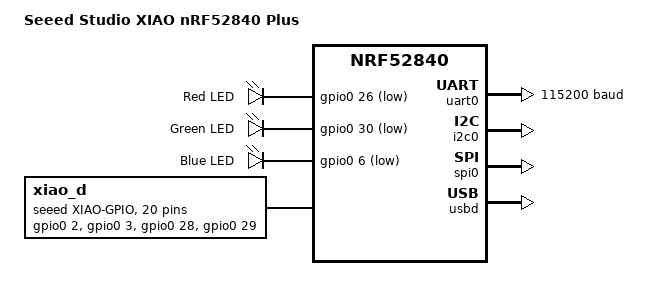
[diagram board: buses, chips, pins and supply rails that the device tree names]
/*
 * Copyright (c) 2024
 * SPDX-License-Identifier: MIT
 *
 * Seeed Studio XIAO nRF52840 Plus board definition
 */

/dts-v1/;
#include <nordic/nrf52840_qiaa.dtsi>
#include "xiao_ble_plus-pinctrl.dtsi"

/ {
    model = "Seeed Studio XIAO nRF52840 Plus";
    compatible = "seeed,xiao-ble-plus";

    chosen {
        zephyr,sram = &sram0;
        zephyr,flash = &flash0;
        zephyr,code-partition = &code_partition;
        zephyr,console = &uart0;
    };

    leds {
        compatible = "gpio-leds";
        led0: led_0 {
            gpios = <&gpio0 26 GPIO_ACTIVE_LOW>;
            label = "Red LED";
        };
        led1: led_1 {
            gpios = <&gpio0 30 GPIO_ACTIVE_LOW>;
            label = "Green LED";
        };
        led2: led_2 {
            gpios = <&gpio0 6 GPIO_ACTIVE_LOW>;
            label = "Blue LED";
        };
    };

    xiao_d: connector {
        compatible = "seeed,xiao-gpio";
        #gpio-cells = <2>;
        gpio-map-mask = <0xffffffff 0xffffffc0>;
        gpio-map-pass-thru = <0 0x3f>;
        gpio-map =
            <0 0 &gpio0 2 0>,    /* D0  - P0.02 */
            <1 0 &gpio0 3 0>,    /* D1  - P0.03 */
            <2 0 &gpio0 28 0>,   /* D2  - P0.28 */
            <3 0 &gpio0 29 0>,   /* D3  - P0.29 */
            <4 0 &gpio0 4 0>,    /* D4  - P0.04 (SDA) */
            <5 0 &gpio0 5 0>,    /* D5  - P0.05 (SCL) */
            <6 0 &gpio1 11 0>,   /* D6  - P1.11 (TX) */
            <7 0 &gpio1 12 0>,   /* D7  - P1.12 (RX) */
            <8 0 &gpio1 13 0>,   /* D8  - P1.13 (SCK) */
            <9 0 &gpio1 14 0>,   /* D9  - P1.14 (MISO) */
            <10 0 &gpio1 15 0>,  /* D10 - P1.15 (MOSI) */
            <11 0 &gpio0 15 0>,  /* D11 - P0.15 (I2S_SD) */
            <12 0 &gpio0 19 0>,  /* D12 - P0.19 (I2S_SCK) */
            <13 0 &gpio1 1 0>,   /* D13 - P1.01 (I2S_WS) */
            <14 0 &gpio0 9 0>,   /* D14 - P0.09 (NFC1) */
            <15 0 &gpio0 10 0>,  /* D15 - P0.10 (NFC2) */
            <16 0 &gpio0 31 0>,  /* D16 - P0.31 (BAT ADC) */
            <17 0 &gpio1 3 0>,   /* D17 - P1.03 (SCK1) */
            <18 0 &gpio1 5 0>,   /* D18 - P1.05 (MISO1) */
            <19 0 &gpio1 7 0>;   /* D19 - P1.07 (MOSI1) */
    };
};

xiao_serial: &uart0 {};
xiao_i2c: &i2c0 {};
xiao_spi: &spi0 {};

&flash0 {
    partitions {
        compatible = "fixed-partitions";
        #address-cells = <1>;
        #size-cells = <1>;

        boot_partition: partition@0 {
            label = "adafruit_boot";
            reg = <0x000000000 0x00027000>;
            read-only;
        };

        code_partition: partition@27000 {
            label = "code_partition";
            reg = <0x00027000 0x000B1000>;
        };

        storage_partition: partition@D8000 {
            label = "storage";
            reg = <0x000D8000 0x00020000>;
        };

        boot_partition_settings: partition@F8000 {
            label = "adafruit_boot_settings";
            reg = <0x000F8000 0x00008000>;
            read-only;
        };
    };
};

&gpio0 { status = "okay"; };
&gpio1 { status = "okay"; };

&uart0 {
    compatible = "nordic,nrf-uarte";
    status = "okay";
    current-speed = <115200>;
    pinctrl-0 = <&uart0_default>;
    pinctrl-1 = <&uart0_sleep>;
    pinctrl-names = "default", "sleep";
};

&i2c0 {
    compatible = "nordic,nrf-twi";
    status = "okay";
    pinctrl-0 = <&i2c0_default>;
    pinctrl-1 = <&i2c0_sleep>;
    pinctrl-names = "default", "sleep";
};

&spi0 {
    compatible = "nordic,nrf-spi";
    status = "okay";
    pinctrl-0 = <&spi0_default>;
    pinctrl-1 = <&spi0_sleep>;
    pinctrl-names = "default", "sleep";
};

&usbd { status = "okay"; };
&gpiote { status = "okay"; };
